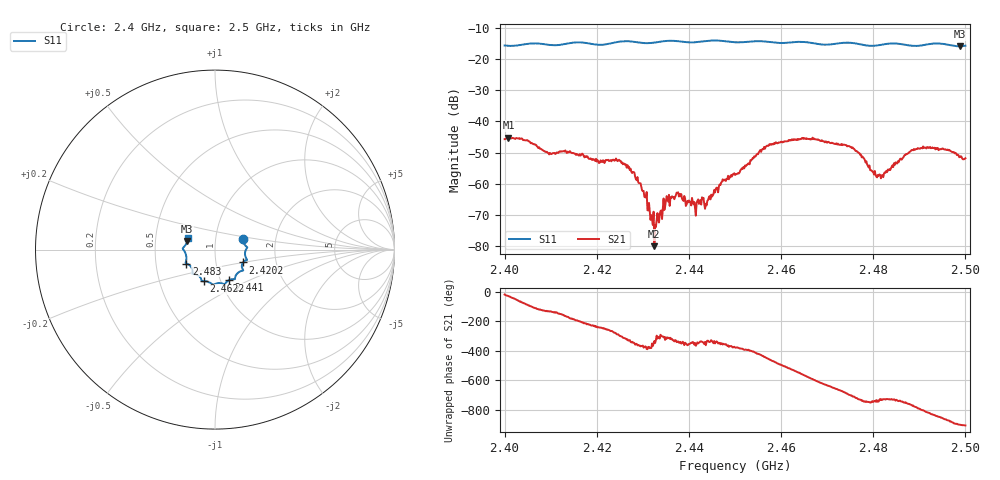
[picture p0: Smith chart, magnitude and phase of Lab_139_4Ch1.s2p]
# Hz S RI R 50
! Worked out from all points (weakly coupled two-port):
!   601 points, 2.4 GHz to 2.5 GHz, reference 50 ohm
!   highest |S21| = -45.15 dB at 2.4008 GHz (marker M1); lowest = -80.1 dB at 2.4325 GHz (marker M2)
!   lowest |S11| = -15.8 dB at 2.4988 GHz (marker M3), VSWR 1.39, Z = 36.4 + j3.49 ohm
!   |S11| at or under -10 dB: start of sweep to end of sweep
!   S12 and S22 are empty: the file has one direction only
!   S11 on the Smith chart (normalised r, x): 2.4 GHz: 1.36, +0.17; 2.4202 GHz: 1.35, -0.20; 2.441 GHz: 1.09, -0.39; 2.4622 GHz: 0.83, -0.30; 2.483 GHz: 0.72, -0.12; 2.5 GHz: 0.73, +0.09
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2.4e9  0.1558 0.0601  0.00492 -0.00169  0 0  0 0
2.400833e9  0.1571 0.0503  0.00483 -0.00269  0 0  0 0
2.416667e9  0.1774 -0.0581  -0.00265 0.00126  0 0  0 0
2.420167e9  0.1558 -0.0717  -0.00112 0.00211  0 0  0 0
2.427667e9  0.153 -0.1174  0.00138 0.000535  0 0  0 0
2.430333e9  0.1309 -0.1269  0.000593 -0.000164  0 0  0 0
2.4325e9  0.1153 -0.1454  8.9e-05 4.32e-05  0 0  0 0
2.433333e9  0.1128 -0.1524  0.000154 0.000218  0 0  0 0
2.4375e9  0.1062 -0.1648  0.000653 0.000265  0 0  0 0
2.441e9  0.0765 -0.1706  0.00045 0.000125  0 0  0 0
2.443833e9  0.0576 -0.1885  0.000417 0.00016  0 0  0 0
2.45e9  0.0264 -0.1861  0.00132 -0.000411  0 0  0 0
2.457167e9  -0.0197 -0.19  -0.000254 -0.00404  0 0  0 0
2.462167e9  -0.0634 -0.1761  -0.00481 -0.00126  0 0  0 0
2.466667e9  -0.0762 -0.1667  -0.00332 0.00397  0 0  0 0
2.475333e9  -0.1257 -0.1338  0.00358 0.0011  0 0  0 0
2.481167e9  -0.1458 -0.0842  0.00123 -0.000539  0 0  0 0
2.483e9  -0.1591 -0.0781  0.00152 -0.00017  0 0  0 0
2.483333e9  -0.1606 -0.0775  0.00162 -0.000255  0 0  0 0
2.490333e9  -0.1657 -0.0179  0.000734 -0.00367  0 0  0 0
2.498833e9  -0.1551 0.0467  -0.00271 7.82e-05  0 0  0 0
2.5e9  -0.1529 0.0631  -0.00256 0.000245  0 0  0 0
